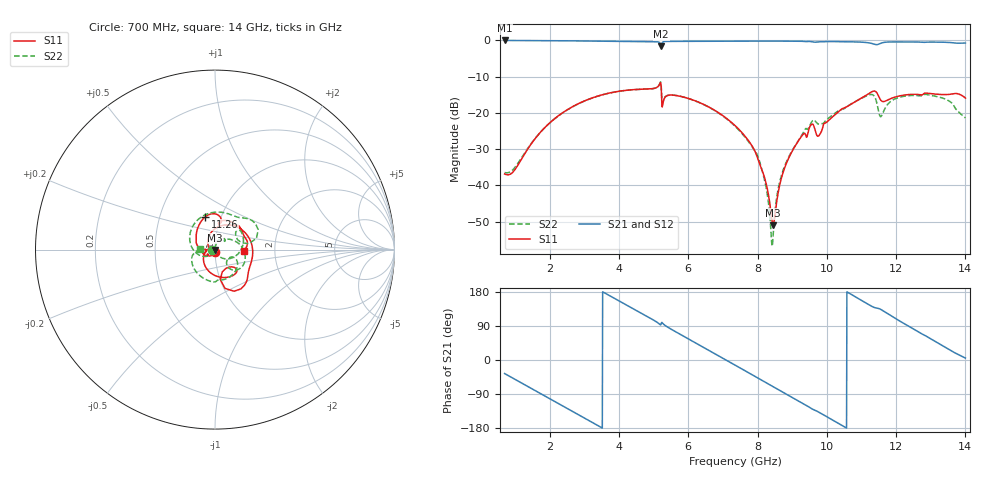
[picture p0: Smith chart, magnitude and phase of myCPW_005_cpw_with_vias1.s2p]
! Touchstone file exported from HFSS 2023.2.0
!  File:  C:/Users/daniel.skrabacz/Documents/EM working folder/myCPW.aedt
!  Generated:  1:48:45 PM  Apr 29, 2025
!  Design:  005_cpw_with_vias1
!  Project:  myCPW
!  Setup:  Setup1
!  Solution:  Sweep
! Variables:
!  $cpw_signal = 1.043mm
!  $d1_thick = 0.762mm
!  $gnd_side_1 = 5.225mm
!  $gnd_side_2 = 5.019mm
!  $half_oz_cu = 0.0175mm
!  $height = 1.5415mm
!  $length = 8.451mm
!  $offset = 0.1mm
!  $one_oz_cu = 0.03556mm
!  $via_height = 1.61262mm
!  $via_radius = 0.381mm
!  $wg_height = 3.5mm
!  $width = 11.811mm
!  offset = 107mm
# GHz S DB R 50.000000
! Terminal data exported
! Port[1] = 1
! Port[2] = 2
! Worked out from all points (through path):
!   1331 points, 700 MHz to 14 GHz, reference 50 ohm
!   highest |S21| = -0.03 dB at 700 MHz (marker M1); lowest = -1.6 dB at 5.22 GHz (marker M2)
!   group delay of S21, straight-line fit = 142 ps
!   lowest |S11| = -50.9 dB at 8.45 GHz (marker M3), VSWR 1.01, Z = 49.8 - j0.149 ohm
!   |S11| at or under -10 dB: start of sweep to end of sweep
!   |S22| runs from -56.7 to -11.4 dB; largest |S21 - S12| = 5.7e-14
!   S11 on the Smith chart (normalised r, x): 700 MHz: 1.00, -0.03; 11.26 GHz: 0.84, +0.32; 14 GHz: 1.38, -0.02
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0.7  -36.83 -80.1  -0.03 -35.8  -0.03 -35.8  -36.43 -167.9
! Gamma 0.12658675535786 22.8626008540534 0.125921995944921 27.9743954225213
! Port Impedance 50 0 50 0
1.81  -24.54 133.4  -0.07 -92.5  -0.07 -92.5  -24.54 -140.8
2.92  -17.05 73.3  -0.16 -149.1  -0.16 -149.1  -17.08 167.2
3.96  -14.10 23.2  -0.27 158.2  -0.27 158.2  -14.10 112.7
5.14  -12.60 -38.7  -0.45 97.1  -0.45 97.1  -12.60 48.8
5.22  -13.03 -75.6  -1.61 95.7  -1.61 95.7  -12.43 15.1
6.08  -16.25 -81.5  -0.25 51.8  -0.25 51.8  -16.27 6.2
6.74  -19.14 -118.2  -0.22 18.0  -0.22 18.0  -19.22 -23.7
7.35  -23.48 -155.2  -0.19 -13.4  -0.19 -13.4  -23.67 -47.9
8.02  -32.96 157.7  -0.21 -47.9  -0.21 -47.9  -32.18 -71.8
8.4  -48.28 174.3  -0.20 -67.5  -0.20 -67.5  -54.58 -34.3
8.45  -50.94 -148.2  -0.20 -70.1  -0.20 -70.1  -53.90 47.8
8.58  -42.85 -90.7  -0.21 -76.9  -0.21 -76.9  -41.75 80.7
8.75  -36.05 -91.8  -0.21 -85.7  -0.21 -85.7  -35.49 82.3
9.57  -23.08 -163.2  -0.39 -128.9  -0.39 -128.9  -22.37 57.0
9.77  -26.28 -170.7  -0.41 -137.7  -0.41 -137.7  -23.10 41.2
10.43  -18.94 158.5  -0.39 -172.5  -0.39 -172.5  -19.04 26.5
11.26  -14.39 106.4  -0.76 143.5  -0.76 143.5  -14.94 -23.5
11.56  -16.52 78.2  -0.80 133.3  -0.80 133.3  -21.03 -35.1
11.79  -16.29 82.1  -0.45 120.1  -0.45 120.1  -17.28 -26.7
12.86  -14.54 44.0  -0.51 63.4  -0.51 63.4  -14.89 -94.2
14  -15.92 -2.0  -0.75 5.2  -0.75 5.2  -21.36 178.1
